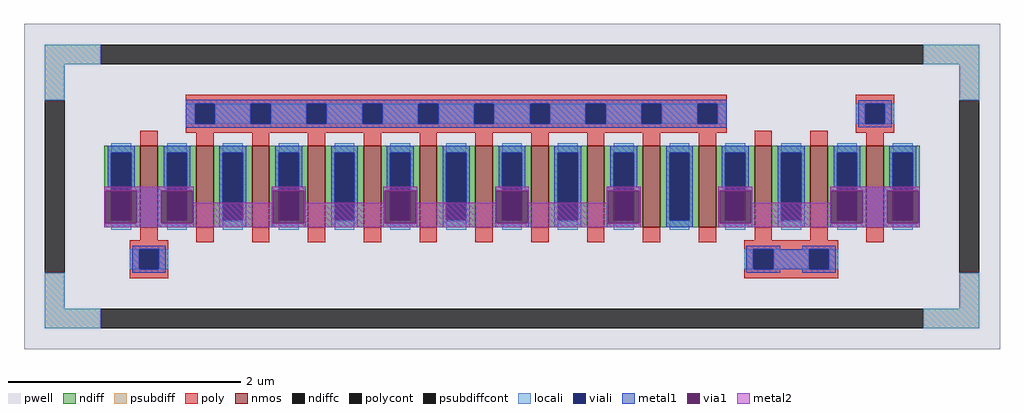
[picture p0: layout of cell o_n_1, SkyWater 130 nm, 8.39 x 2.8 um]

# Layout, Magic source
magic
tech sky130A
magscale 1 2
<< pwell >>
rect -839 -280 839 280
<< nmos >>
rect -639 -70 -609 70
rect -543 -70 -513 70
rect -447 -70 -417 70
rect -351 -70 -321 70
rect -255 -70 -225 70
rect -159 -70 -129 70
rect -63 -70 -33 70
rect 33 -70 63 70
rect 129 -70 159 70
rect 225 -70 255 70
rect 321 -70 351 70
rect 417 -70 447 70
rect 513 -70 543 70
rect 609 -70 639 70
<< ndiff >>
rect -701 58 -639 70
rect -701 -58 -689 58
rect -655 -58 -639 58
rect -701 -70 -639 -58
rect -609 58 -543 70
rect -609 -58 -593 58
rect -559 -58 -543 58
rect -609 -70 -543 -58
rect -513 58 -447 70
rect -513 -58 -497 58
rect -463 -58 -447 58
rect -513 -70 -447 -58
rect -417 58 -351 70
rect -417 -58 -401 58
rect -367 -58 -351 58
rect -417 -70 -351 -58
rect -321 58 -255 70
rect -321 -58 -305 58
rect -271 -58 -255 58
rect -321 -70 -255 -58
rect -225 58 -159 70
rect -225 -58 -209 58
rect -175 -58 -159 58
rect -225 -70 -159 -58
rect -129 58 -63 70
rect -129 -58 -113 58
rect -79 -58 -63 58
rect -129 -70 -63 -58
rect -33 58 33 70
rect -33 -58 -17 58
rect 17 -58 33 58
rect -33 -70 33 -58
rect 63 58 129 70
rect 63 -58 79 58
rect 113 -58 129 58
rect 63 -70 129 -58
rect 159 58 225 70
rect 159 -58 175 58
rect 209 -58 225 58
rect 159 -70 225 -58
rect 255 58 321 70
rect 255 -58 271 58
rect 305 -58 321 58
rect 255 -70 321 -58
rect 351 58 417 70
rect 351 -58 367 58
rect 401 -58 417 58
rect 351 -70 417 -58
rect 447 58 513 70
rect 447 -58 463 58
rect 497 -58 513 58
rect 447 -70 513 -58
rect 543 58 609 70
rect 543 -58 559 58
rect 593 -58 609 58
rect 543 -70 609 -58
rect 639 58 701 70
rect 639 -58 655 58
rect 689 -58 701 58
rect 639 -70 701 -58
<< ndiffc >>
rect -689 -58 -655 58
rect -593 -58 -559 58
rect -497 -58 -463 58
rect -401 -58 -367 58
rect -305 -58 -271 58
rect -209 -58 -175 58
rect -113 -58 -79 58
rect -17 -58 17 58
rect 79 -58 113 58
rect 175 -58 209 58
rect 271 -58 305 58
rect 367 -58 401 58
rect 463 -58 497 58
rect 559 -58 593 58
rect 655 -58 689 58
<< psubdiff >>
rect -803 210 -707 244
rect 707 210 803 244
rect -803 148 -769 210
rect 769 148 803 210
rect -803 -210 -769 -148
rect 769 -210 803 -148
rect -803 -244 -707 -210
rect 707 -244 803 -210
<< psubdiffcont >>
rect -707 210 707 244
rect -803 -148 -769 148
rect 769 -148 803 148
rect -707 -244 707 -210
<< poly >>
rect -561 142 369 158
rect -561 108 -545 142
rect -511 108 -449 142
rect -415 108 -353 142
rect -319 108 -257 142
rect -223 108 -161 142
rect -127 108 -65 142
rect -31 108 31 142
rect 65 108 127 142
rect 161 108 223 142
rect 257 108 319 142
rect 353 108 369 142
rect -639 70 -609 96
rect -561 92 369 108
rect 591 142 657 158
rect 591 108 607 142
rect 641 108 657 142
rect -543 70 -513 92
rect -447 70 -417 92
rect -351 70 -321 92
rect -255 70 -225 92
rect -159 70 -129 92
rect -63 70 -33 92
rect 33 70 63 92
rect 129 70 159 92
rect 225 70 255 92
rect 321 70 351 92
rect 417 70 447 96
rect 513 70 543 96
rect 591 92 657 108
rect 609 70 639 92
rect -639 -92 -609 -70
rect -657 -108 -591 -92
rect -543 -96 -513 -70
rect -447 -96 -417 -70
rect -351 -96 -321 -70
rect -255 -96 -225 -70
rect -159 -96 -129 -70
rect -63 -96 -33 -70
rect 33 -96 63 -70
rect 129 -96 159 -70
rect 225 -96 255 -70
rect 321 -96 351 -70
rect 417 -92 447 -70
rect 513 -92 543 -70
rect -657 -142 -641 -108
rect -607 -142 -591 -108
rect -657 -158 -591 -142
rect 399 -108 561 -92
rect 609 -96 639 -70
rect 399 -142 415 -108
rect 449 -142 511 -108
rect 545 -142 561 -108
rect 399 -158 561 -142
<< polycont >>
rect -545 108 -511 142
rect -449 108 -415 142
rect -353 108 -319 142
rect -257 108 -223 142
rect -161 108 -127 142
rect -65 108 -31 142
rect 31 108 65 142
rect 127 108 161 142
rect 223 108 257 142
rect 319 108 353 142
rect 607 108 641 142
rect -641 -142 -607 -108
rect 415 -142 449 -108
rect 511 -142 545 -108
<< locali >>
rect -803 210 -707 244
rect 707 210 803 244
rect -803 148 -769 210
rect 769 148 803 210
rect -561 108 -545 142
rect -511 108 -449 142
rect -415 108 -353 142
rect -319 108 -257 142
rect -223 108 -161 142
rect -127 108 -65 142
rect -31 108 31 142
rect 65 108 127 142
rect 161 108 223 142
rect 257 108 319 142
rect 353 108 369 142
rect 591 108 607 142
rect 641 108 657 142
rect -689 58 -655 74
rect -689 -74 -655 -58
rect -593 58 -559 74
rect -593 -74 -559 -58
rect -497 58 -463 74
rect -497 -74 -463 -58
rect -401 58 -367 74
rect -401 -74 -367 -58
rect -305 58 -271 74
rect -305 -74 -271 -58
rect -209 58 -175 74
rect -209 -74 -175 -58
rect -113 58 -79 74
rect -113 -74 -79 -58
rect -17 58 17 74
rect -17 -74 17 -58
rect 79 58 113 74
rect 79 -74 113 -58
rect 175 58 209 74
rect 175 -74 209 -58
rect 271 58 305 74
rect 271 -74 305 -58
rect 367 58 401 74
rect 367 -74 401 -58
rect 463 58 497 74
rect 463 -74 497 -58
rect 559 58 593 74
rect 559 -74 593 -58
rect 655 58 689 74
rect 655 -74 689 -58
rect -657 -142 -641 -108
rect -607 -142 -591 -108
rect 399 -142 415 -108
rect 449 -142 511 -108
rect 545 -142 561 -108
rect -803 -210 -769 -148
rect 769 -210 803 -148
rect -803 -244 -707 -210
rect 707 -244 803 -210
<< viali >>
rect -545 108 -511 142
rect -449 108 -415 142
rect -353 108 -319 142
rect -257 108 -223 142
rect -161 108 -127 142
rect -65 108 -31 142
rect 31 108 65 142
rect 127 108 161 142
rect 223 108 257 142
rect 319 108 353 142
rect 607 108 641 142
rect -689 -58 -655 58
rect -593 -58 -559 58
rect -497 -58 -463 58
rect -401 -58 -367 58
rect -305 -58 -271 58
rect -209 -58 -175 58
rect -113 -58 -79 58
rect -17 -58 17 58
rect 79 -58 113 58
rect 175 -58 209 58
rect 271 -58 305 58
rect 367 -58 401 58
rect 463 -58 497 58
rect 559 -58 593 58
rect 655 -58 689 58
rect -641 -142 -607 -108
rect 415 -142 449 -108
rect 511 -142 545 -108
<< metal1 >>
rect -561 142 369 149
rect -561 108 -545 142
rect -511 108 -449 142
rect -415 108 -353 142
rect -319 108 -257 142
rect -223 108 -161 142
rect -127 108 -65 142
rect -31 108 31 142
rect 65 108 127 142
rect 161 108 223 142
rect 257 108 319 142
rect 353 108 369 142
rect -561 101 369 108
rect 595 142 653 148
rect 595 108 607 142
rect 641 108 653 142
rect 595 102 653 108
rect -695 58 -649 70
rect -695 0 -689 58
rect -701 -7 -689 0
rect -655 0 -649 58
rect -599 58 -553 70
rect -599 0 -593 58
rect -655 -7 -593 0
rect -559 0 -553 58
rect -503 58 -457 70
rect -559 -7 -547 0
rect -701 -63 -699 -7
rect -645 -63 -603 -7
rect -549 -63 -547 -7
rect -701 -70 -547 -63
rect -503 -58 -497 58
rect -463 -58 -457 58
rect -407 58 -361 70
rect -407 0 -401 58
rect -503 -70 -457 -58
rect -413 -7 -401 0
rect -367 0 -361 58
rect -311 58 -265 70
rect -367 -7 -355 0
rect -413 -63 -411 -7
rect -357 -63 -355 -7
rect -413 -70 -355 -63
rect -311 -58 -305 58
rect -271 -58 -265 58
rect -215 58 -169 70
rect -215 0 -209 58
rect -311 -70 -265 -58
rect -221 -7 -209 0
rect -175 0 -169 58
rect -119 58 -73 70
rect -175 -7 -163 0
rect -221 -63 -219 -7
rect -165 -63 -163 -7
rect -221 -70 -163 -63
rect -119 -58 -113 58
rect -79 -58 -73 58
rect -23 58 23 70
rect -23 0 -17 58
rect -119 -70 -73 -58
rect -29 -7 -17 0
rect 17 0 23 58
rect 73 58 119 70
rect 17 -7 29 0
rect -29 -63 -27 -7
rect 27 -63 29 -7
rect -29 -70 29 -63
rect 73 -58 79 58
rect 113 -58 119 58
rect 169 58 215 70
rect 169 0 175 58
rect 73 -70 119 -58
rect 163 -7 175 0
rect 209 0 215 58
rect 265 58 311 70
rect 209 -7 221 0
rect 163 -63 165 -7
rect 219 -63 221 -7
rect 163 -70 221 -63
rect 265 -58 271 58
rect 305 -58 311 58
rect 361 58 407 70
rect 361 0 367 58
rect 265 -70 311 -58
rect 355 -7 367 0
rect 401 0 407 58
rect 457 58 503 70
rect 401 -7 413 0
rect 355 -63 357 -7
rect 411 -63 413 -7
rect 355 -70 413 -63
rect 457 -58 463 58
rect 497 -58 503 58
rect 553 58 599 70
rect 553 0 559 58
rect 457 -70 503 -58
rect 547 -7 559 0
rect 593 0 599 58
rect 649 58 695 70
rect 649 0 655 58
rect 593 -7 655 0
rect 689 0 695 58
rect 689 -7 701 0
rect 547 -63 549 -7
rect 603 -63 645 -7
rect 699 -63 701 -7
rect 547 -70 701 -63
rect -653 -108 -595 -102
rect -653 -142 -641 -108
rect -607 -142 -595 -108
rect -653 -148 -595 -142
rect 403 -108 461 -102
rect 499 -108 557 -102
rect 403 -142 415 -108
rect 449 -142 511 -108
rect 545 -142 557 -108
rect 403 -148 461 -142
rect 499 -148 557 -142
<< via1 >>
rect -699 -58 -689 -7
rect -689 -58 -655 -7
rect -655 -58 -645 -7
rect -699 -63 -645 -58
rect -603 -58 -593 -7
rect -593 -58 -559 -7
rect -559 -58 -549 -7
rect -603 -63 -549 -58
rect -411 -58 -401 -7
rect -401 -58 -367 -7
rect -367 -58 -357 -7
rect -411 -63 -357 -58
rect -219 -58 -209 -7
rect -209 -58 -175 -7
rect -175 -58 -165 -7
rect -219 -63 -165 -58
rect -27 -58 -17 -7
rect -17 -58 17 -7
rect 17 -58 27 -7
rect -27 -63 27 -58
rect 165 -58 175 -7
rect 175 -58 209 -7
rect 209 -58 219 -7
rect 165 -63 219 -58
rect 357 -58 367 -7
rect 367 -58 401 -7
rect 401 -58 411 -7
rect 357 -63 411 -58
rect 549 -58 559 -7
rect 559 -58 593 -7
rect 593 -58 603 -7
rect 549 -63 603 -58
rect 645 -58 655 -7
rect 655 -58 689 -7
rect 689 -58 699 -7
rect 645 -63 699 -58
<< metal2 >>
rect -701 -7 -547 0
rect -701 -63 -699 -7
rect -645 -63 -603 -7
rect -549 -28 -547 -7
rect -413 -7 -355 0
rect -413 -28 -411 -7
rect -549 -63 -411 -28
rect -357 -28 -355 -7
rect -221 -7 -163 0
rect -221 -28 -219 -7
rect -357 -63 -219 -28
rect -165 -28 -163 -7
rect -29 -7 29 0
rect -29 -28 -27 -7
rect -165 -63 -27 -28
rect 27 -28 29 -7
rect 163 -7 221 0
rect 163 -28 165 -7
rect 27 -63 165 -28
rect 219 -63 221 -7
rect -701 -70 221 -63
rect 355 -7 413 0
rect 355 -63 357 -7
rect 411 -28 413 -7
rect 547 -7 701 0
rect 547 -28 549 -7
rect 411 -63 549 -28
rect 603 -63 645 -7
rect 699 -63 701 -7
rect 355 -70 701 -63
<< properties >>
string FIXED_BBOX -786 -227 786 227
string gencell sky130_fd_pr__nfet_01v8
string library sky130
string parameters w 0.7 l 0.150 m 1 nf 14 diffcov 100 polycov 100 guard 1 glc 1 grc 1 gtc 1 gbc 1 tbcov 100 rlcov 100 topc 1 botc 1 poverlap 0 doverlap 1 lmin 0.15 wmin 0.42 compatible {sky130_fd_pr__nfet_01v8 sky130_fd_pr__nfet_01v8_lvt  sky130_fd_bs_flash__special_sonosfet_star  sky130_fd_pr__nfet_g5v0d10v5 sky130_fd_pr__nfet_05v0_nvt  sky130_fd_pr__nfet_03v3_nvt} full_metal 1 viasrc 100 viadrn 100 viagate 100 viagb 0 viagr 0 viagl 0 viagt 0
<< end >>
